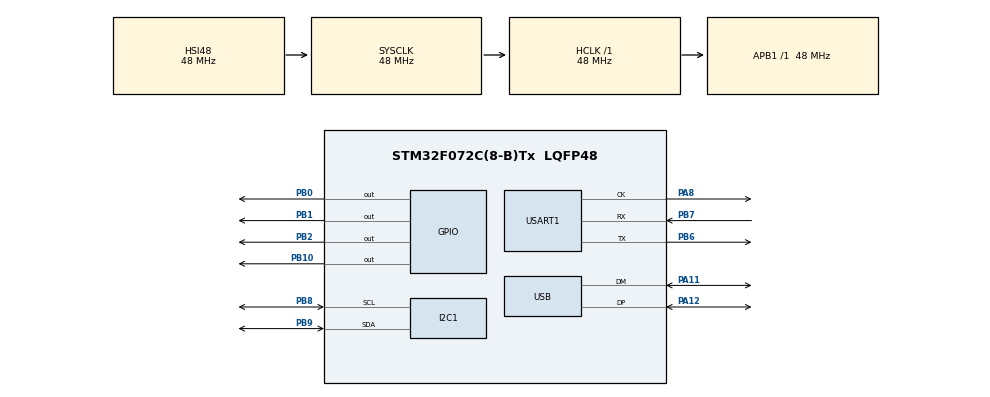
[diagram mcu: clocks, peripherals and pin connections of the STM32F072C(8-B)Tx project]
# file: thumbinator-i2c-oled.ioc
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I2C1.Timing=0x2000090E
Mcu.Family=STM32F0
Mcu.Name=STM32F072C(8-B)Tx
Mcu.Package=LQFP48
NVIC.USB_IRQn=true\:0\:0\:false\:false\:true
PA11.Mode=Device
PA11.Signal=USB_DM
PA12.Mode=Device
PA12.Signal=USB_DP
PA8.Mode=Synchronous
PA8.Signal=USART1_CK
PB0.Signal=GPIO_Output
PB1.Signal=GPIO_Output
PB10.Signal=GPIO_Output
PB2.Signal=GPIO_Output
PB6.Mode=Synchronous
PB6.Signal=USART1_TX
PB7.Mode=Synchronous
PB7.Signal=USART1_RX
PB8.GPIO_FM8=SYSCFG_CFGR1_I2C_FMP_PB8
PB8.Mode=I2C
PB8.Signal=I2C1_SCL
PB9.GPIO_FM9=SYSCFG_CFGR1_I2C_FMP_PB9
PB9.Mode=I2C
PB9.Signal=I2C1_SDA
PF0-OSC_IN.Mode=HSE-External-Oscillator
PF0-OSC_IN.Signal=RCC_OSC_IN
PF1-OSC_OUT.Mode=HSE-External-Oscillator
PF1-OSC_OUT.Signal=RCC_OSC_OUT
ProjectManager.HeapSize=0x200
ProjectManager.StackSize=0x400
ProjectManager.TargetToolchain=SW4STM32
RCC.AHBFreq_Value=48000000
RCC.APB1Freq_Value=48000000
RCC.APB1TimFreq_Value=48000000
RCC.HCLKFreq_Value=48000000
RCC.SYSCLKFreq_VALUE=48000000
RCC.SYSCLKSource=RCC_SYSCLKSOURCE_HSI48
USART1.VirtualMode-Synchronous=VM_SYNC
USB_DEVICE.CLASS_NAME_FS=CDC
USB_DEVICE.USBD_HandleTypeDef=hUsbDeviceFS
USB_DEVICE.VirtualMode=Cdc
USB_DEVICE.VirtualModeFS=Cdc_FS
VP_USB_DEVICE_VS_USB_DEVICE_CDC_FS.Mode=CDC_FS
board=thumbinator-i2c-oled

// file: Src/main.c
/**
  ******************************************************************************
  * File Name          : main.c
  * Description        : Main program body
  ******************************************************************************
  *
  * Copyright (c) 2016 STMicroelectronics International N.V.
  * All rights reserved.
  *
  * Redistribution and use in source and binary forms, with or without
  * modification, are permitted, provided that the following conditions are met:
  *
  * 1. Redistribution of source code must retain the above copyright notice,
  *    this list of conditions and the following disclaimer.
  * 2. Redistributions in binary form must reproduce the above copyright notice,
  *    this list of conditions and the following disclaimer in the documentation
  *    and/or other materials provided with the distribution.
  * 3. Neither the name of STMicroelectronics nor the names of other
  *    contributors to this software may be used to endorse or promote products
  *    derived from this software without specific written permission.
  * 4. This software, including modifications and/or derivative works of this
  *    software, must execute solely and exclusively on microcontroller or
  *    microprocessor devices manufactured by or for STMicroelectronics.
  * 5. Redistribution and use of this software other than as permitted under
  *    this license is void and will automatically terminate your rights under
  *    this license.
  *
  * THIS SOFTWARE IS PROVIDED BY STMICROELECTRONICS AND CONTRIBUTORS "AS IS"
  * AND ANY EXPRESS, IMPLIED OR STATUTORY WARRANTIES, INCLUDING, BUT NOT
  * LIMITED TO, THE IMPLIED WARRANTIES OF MERCHANTABILITY, FITNESS FOR A
  * PARTICULAR PURPOSE AND NON-INFRINGEMENT OF THIRD PARTY INTELLECTUAL PROPERTY
  * RIGHTS ARE DISCLAIMED TO THE FULLEST EXTENT PERMITTED BY LAW. IN NO EVENT
  * SHALL STMICROELECTRONICS OR CONTRIBUTORS BE LIABLE FOR ANY DIRECT, INDIRECT,
  * INCIDENTAL, SPECIAL, EXEMPLARY, OR CONSEQUENTIAL DAMAGES (INCLUDING, BUT NOT
  * LIMITED TO, PROCUREMENT OF SUBSTITUTE GOODS OR SERVICES; LOSS OF USE, DATA,
  * OR PROFITS; OR BUSINESS INTERRUPTION) HOWEVER CAUSED AND ON ANY THEORY OF
  * LIABILITY, WHETHER IN CONTRACT, STRICT LIABILITY, OR TORT (INCLUDING
  * NEGLIGENCE OR OTHERWISE) ARISING IN ANY WAY OUT OF THE USE OF THIS SOFTWARE,
  * EVEN IF ADVISED OF THE POSSIBILITY OF SUCH DAMAGE.
  *
  ******************************************************************************
  */
#include "main.h"
#include "stm32f0xx_hal.h"
#include "usb_device.h"

/* USER CODE BEGIN Includes */
#include "u8g_arm.h"
/* USER CODE END Includes */

I2C_HandleTypeDef hi2c1;

USART_HandleTypeDef husart1;

/* USER CODE BEGIN PV */
/* Private variables ---------------------------------------------------------*/
static u8g_t u8g;

/* USER CODE END PV */

void SystemClock_Config(void);
void Error_Handler(void);
static void MX_GPIO_Init(void);
static void MX_USART1_Init(void);
static void MX_I2C1_Init(void);

/* USER CODE BEGIN PFP */
/* Private function prototypes -----------------------------------------------*/

/* USER CODE END PFP */

/* USER CODE BEGIN 0 */
static void next_led(void) {
  static int i = 0;
  i = (i + 1) % 16;
  HAL_GPIO_WritePin(GPIOB, GPIO_PIN_0|GPIO_PIN_1|GPIO_PIN_2|GPIO_PIN_10, GPIO_PIN_RESET);
  if (i & 1) HAL_GPIO_WritePin(GPIOB, GPIO_PIN_0, GPIO_PIN_SET);
  if (i & 2) HAL_GPIO_WritePin(GPIOB, GPIO_PIN_1, GPIO_PIN_SET);
  if (i & 4) HAL_GPIO_WritePin(GPIOB, GPIO_PIN_2, GPIO_PIN_SET);
  if (i & 8) HAL_GPIO_WritePin(GPIOB, GPIO_PIN_10, GPIO_PIN_SET);
}

void draw(void)
{
  static i = 0;
  i = (i+1) & 0xff;
	u8g_DrawStr(&u8g, 2, 12, "Hello!");//write string - you set coordinates and string
	u8g_DrawBox(&u8g, i, 30, 35, 35);//draw some box
}

/* USER CODE END 0 */

int main(void)
{

  /* MCU Configuration----------------------------------------------------------*/

  /* Reset of all peripherals, Initializes the Flash interface and the Systick. */
  HAL_Init();

  /* Configure the system clock */
  SystemClock_Config();

  /* Initialize all configured peripherals */
  MX_GPIO_Init();
  MX_USART1_Init();
  MX_USB_DEVICE_Init();
  MX_I2C1_Init();

  /* USER CODE BEGIN 2 */
  HAL_Delay(1);
  next_led();
  u8g_InitComFn(&u8g, &u8g_dev_ssd1306_128x64_i2c, u8g_com_hw_i2c_fn); //here we init our u8glib driver
  next_led();
  /* USER CODE END 2 */

  /* Infinite loop */
  while (1)
  {

  /* USER CODE BEGIN 3 */
  //  HAL_Delay(100);
    next_led();
  	u8g_SetFont(&u8g,u8g_font_profont10);//set current font

    u8g_FirstPage(&u8g);
    do
    {
      draw();
    } while ( u8g_NextPage(&u8g) );
//    u8g_Delay(10);

  }
  /* USER CODE END 3 */

}

/** System Clock Configuration
*/
void SystemClock_Config(void)
{

  RCC_OscInitTypeDef RCC_OscInitStruct;
  RCC_ClkInitTypeDef RCC_ClkInitStruct;
  RCC_PeriphCLKInitTypeDef PeriphClkInit;

    /**Initializes the CPU, AHB and APB busses clocks
    */
  RCC_OscInitStruct.OscillatorType = RCC_OSCILLATORTYPE_HSI|RCC_OSCILLATORTYPE_HSI48;
  RCC_OscInitStruct.HSIState = RCC_HSI_ON;
  RCC_OscInitStruct.HSI48State = RCC_HSI48_ON;
  RCC_OscInitStruct.HSICalibrationValue = 16;
  RCC_OscInitStruct.PLL.PLLState = RCC_PLL_NONE;
  if (HAL_RCC_OscConfig(&RCC_OscInitStruct) != HAL_OK)
  {
    Error_Handler();
  }

    /**Initializes the CPU, AHB and APB busses clocks
    */
  RCC_ClkInitStruct.ClockType = RCC_CLOCKTYPE_HCLK|RCC_CLOCKTYPE_SYSCLK
                              |RCC_CLOCKTYPE_PCLK1;
  RCC_ClkInitStruct.SYSCLKSource = RCC_SYSCLKSOURCE_HSI48;
  RCC_ClkInitStruct.AHBCLKDivider = RCC_SYSCLK_DIV1;
  RCC_ClkInitStruct.APB1CLKDivider = RCC_HCLK_DIV1;

  if (HAL_RCC_ClockConfig(&RCC_ClkInitStruct, FLASH_LATENCY_1) != HAL_OK)
  {
    Error_Handler();
  }

  PeriphClkInit.PeriphClockSelection = RCC_PERIPHCLK_USB|RCC_PERIPHCLK_USART1
                              |RCC_PERIPHCLK_I2C1;
  PeriphClkInit.Usart1ClockSelection = RCC_USART1CLKSOURCE_PCLK1;
  PeriphClkInit.I2c1ClockSelection = RCC_I2C1CLKSOURCE_HSI;
  PeriphClkInit.UsbClockSelection = RCC_USBCLKSOURCE_HSI48;

  if (HAL_RCCEx_PeriphCLKConfig(&PeriphClkInit) != HAL_OK)
  {
    Error_Handler();
  }

    /**Configure the Systick interrupt time
    */
  HAL_SYSTICK_Config(HAL_RCC_GetHCLKFreq()/1000);

    /**Configure the Systick
    */
  HAL_SYSTICK_CLKSourceConfig(SYSTICK_CLKSOURCE_HCLK);

  /* SysTick_IRQn interrupt configuration */
  HAL_NVIC_SetPriority(SysTick_IRQn, 0, 0);
}

/* I2C1 init function */
static void MX_I2C1_Init(void)
{

  hi2c1.Instance = I2C1;
  hi2c1.Init.Timing = 0x2000090E;
  hi2c1.Init.OwnAddress1 = 0;
  hi2c1.Init.AddressingMode = I2C_ADDRESSINGMODE_7BIT;
  hi2c1.Init.DualAddressMode = I2C_DUALADDRESS_DISABLE;
  hi2c1.Init.OwnAddress2 = 0;
  hi2c1.Init.OwnAddress2Masks = I2C_OA2_NOMASK;
  hi2c1.Init.GeneralCallMode = I2C_GENERALCALL_DISABLE;
  hi2c1.Init.NoStretchMode = I2C_NOSTRETCH_DISABLE;
  if (HAL_I2C_Init(&hi2c1) != HAL_OK)
  {
    Error_Handler();
  }

    /**Configure Analogue filter
    */
  if (HAL_I2CEx_ConfigAnalogFilter(&hi2c1, I2C_ANALOGFILTER_ENABLE) != HAL_OK)
  {
    Error_Handler();
  }

}

/* USART1 init function */
static void MX_USART1_Init(void)
{

  husart1.Instance = USART1;
  husart1.Init.BaudRate = 38400;
  husart1.Init.WordLength = USART_WORDLENGTH_7B;
  husart1.Init.StopBits = USART_STOPBITS_1;
  husart1.Init.Parity = USART_PARITY_NONE;
  husart1.Init.Mode = USART_MODE_TX_RX;
  husart1.Init.CLKPolarity = USART_POLARITY_LOW;
  husart1.Init.CLKPhase = USART_PHASE_1EDGE;
  husart1.Init.CLKLastBit = USART_LASTBIT_DISABLE;
  if (HAL_USART_Init(&husart1) != HAL_OK)
  {
    Error_Handler();
  }

}

/** Configure pins as
        * Analog
        * Input
        * Output
        * EVENT_OUT
        * EXTI
*/
static void MX_GPIO_Init(void)
{

  GPIO_InitTypeDef GPIO_InitStruct;

  /* GPIO Ports Clock Enable */
  __HAL_RCC_GPIOF_CLK_ENABLE();
  __HAL_RCC_GPIOB_CLK_ENABLE();
  __HAL_RCC_GPIOA_CLK_ENABLE();

  /*Configure GPIO pin Output Level */
  HAL_GPIO_WritePin(GPIOB, GPIO_PIN_0|GPIO_PIN_1|GPIO_PIN_2|GPIO_PIN_10, GPIO_PIN_RESET);

  /*Configure GPIO pins : PB0 PB1 PB2 PB10 */
  GPIO_InitStruct.Pin = GPIO_PIN_0|GPIO_PIN_1|GPIO_PIN_2|GPIO_PIN_10;
  GPIO_InitStruct.Mode = GPIO_MODE_OUTPUT_PP;
  GPIO_InitStruct.Pull = GPIO_NOPULL;
  GPIO_InitStruct.Speed = GPIO_SPEED_FREQ_LOW;
  HAL_GPIO_Init(GPIOB, &GPIO_InitStruct);

}

void Error_Handler(void)
{
  while(1)
  {
  }
}

/************************ (C) COPYRIGHT STMicroelectronics *****END OF FILE****/
